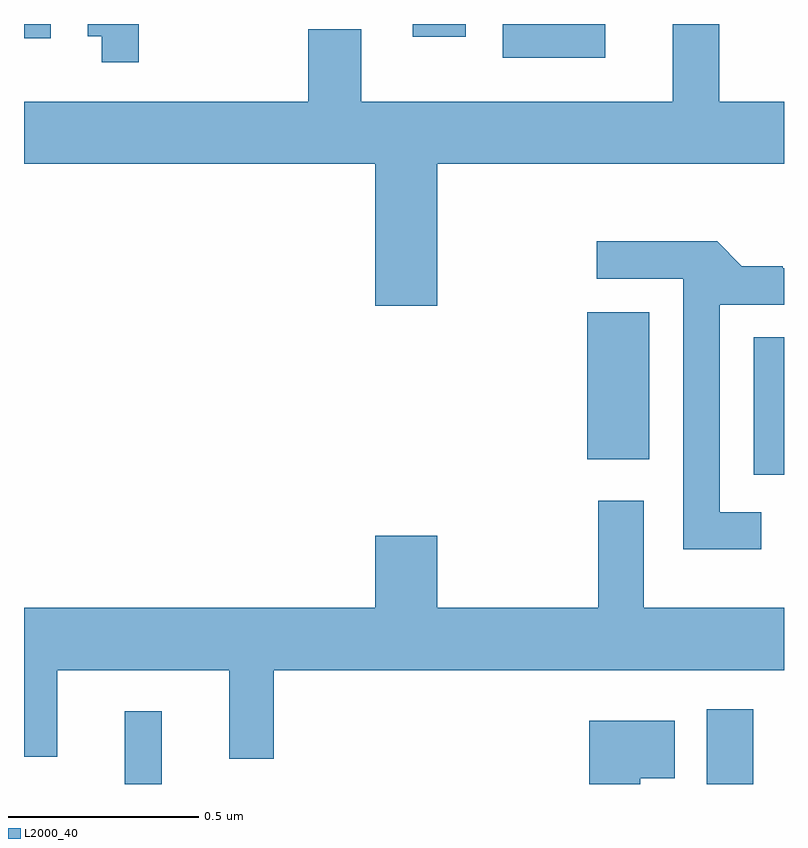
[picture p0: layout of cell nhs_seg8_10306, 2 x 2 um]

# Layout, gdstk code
import gdstk
lib = gdstk.Library(unit=1e-6, precision=1e-09)
def R(c, l, rs):  # rectangles x0, y0, x1, y1
    for r in rs: c.add(gdstk.rectangle(r[:2], r[2:], *l))
def P(c, l, *ps):  # polygons
    for p in ps: c.add(gdstk.Polygon(p, *l))
L2000_40 = (2000, 40)

nhs_seg8_10306 = lib.new_cell('nhs_seg8_10306')
R(nhs_seg8_10306, L2000_40, [(248.265,1082.9,248.362,1083.091), (249.797,1082.9,249.919,1083.097), (249.92,1083.714,250,1084.076), (249.482,1083.755,249.646,1084.141), (249.26,1084.811,249.529,1084.9), (248,1084.862,248.07,1084.9), (249.023,1084.866,249.163,1084.9)])
P(nhs_seg8_10306, L2000_40, [(248.302,1084.9),(248.168,1084.9),(248.168,1084.868),(248.204,1084.868),(248.204,1084.8),(248.302,1084.8)],
  [(249.707,1084.9),(249.707,1084.696),(248.887,1084.696),(248.887,1084.886),(248.748,1084.886),(248.748,1084.696),(248,1084.696),(248,1084.532),(248.924,1084.532),(248.924,1084.158),(249.088,1084.158),(249.088,1084.532),(250,1084.532),(250,1084.696),(249.829,1084.696),(249.829,1084.9)],
  [(249.94,1083.615),(249.831,1083.615),(249.831,1084.161),(250,1084.161),(250,1084.257),(249.997,1084.257),(249.997,1084.262),(249.889,1084.262),(249.824,1084.328),(249.507,1084.328),(249.507,1084.23),(249.735,1084.23),(249.735,1083.518),(249.94,1083.518)],
  [(248.657,1083.2),(250,1083.2),(250,1083.364),(249.631,1083.364),(249.631,1083.646),(249.511,1083.646),(249.511,1083.364),(249.088,1083.364),(249.088,1083.553),(248.924,1083.553),(248.924,1083.364),(248,1083.364),(248,1082.972),(248.087,1082.972),(248.087,1083.2),(248.54,1083.2),(248.54,1082.967),(248.657,1082.967)],
  [(249.622,1082.915),(249.712,1082.915),(249.712,1083.067),(249.488,1083.067),(249.488,1082.9),(249.622,1082.9)])

lib.write_gds('nhs_seg8_10306.gds')
